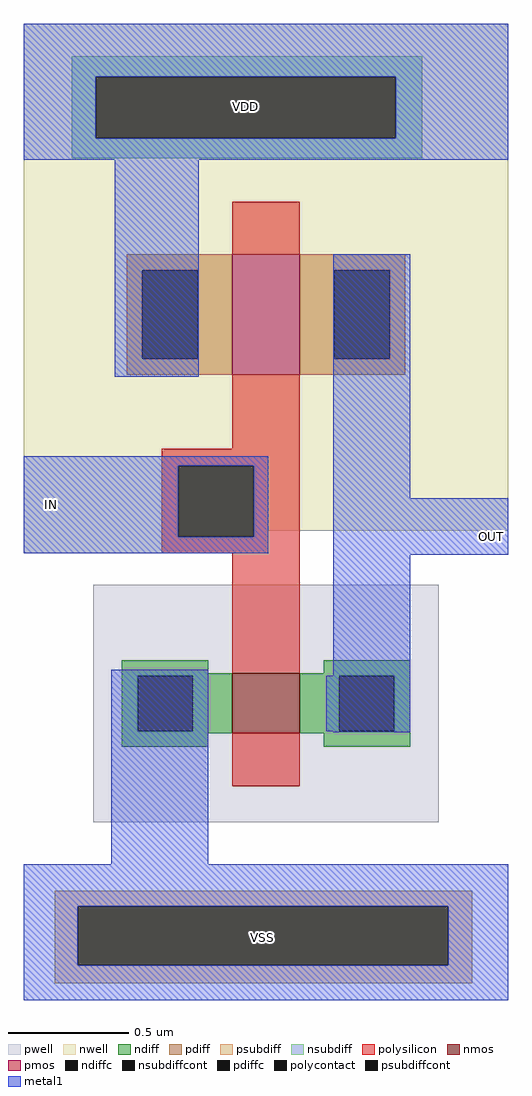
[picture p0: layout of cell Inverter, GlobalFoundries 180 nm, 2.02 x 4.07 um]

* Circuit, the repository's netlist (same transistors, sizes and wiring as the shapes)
* NGSPICE file created from Inverter.ext - technology: gf180mcuC

.subckt nmos_3p3_H9QVWA a_n120_n36# a_28_n25# a_n28_n69# VSUBS
X0 a_28_n25# a_n28_n69# a_n120_n36# VSUBS nfet_03v3 ad=0.155p pd=1.64u as=0.155p ps=1.64u w=0.25u l=0.28u
.ends

.subckt pmos_3p3_M8RWPS a_n28_n94# w_n202_n180# a_n116_n50# a_28_n50#
X0 a_28_n50# a_n28_n94# a_n116_n50# w_n202_n180# pfet_03v3 ad=0.22p pd=1.88u as=0.22p ps=1.88u w=0.5u l=0.28u
.ends

.subckt Inverter VDD VSS IN OUT
Xnmos_3p3_H9QVWA_0 VSS OUT IN VSS nmos_3p3_H9QVWA
Xpmos_3p3_M8RWPS_0 IN VDD VDD OUT pmos_3p3_M8RWPS
.ends

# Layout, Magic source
magic
tech gf180mcuC
magscale 1 10
<< nwell >>
rect -118 486 286 599
rect -42 305 28 486
rect 1 239 86 245
rect -118 158 86 239
<< psubdiff >>
rect -92 -136 256 -123
rect -92 -185 -73 -136
rect 236 -185 256 -136
rect -92 -200 256 -185
<< nsubdiff >>
rect -78 555 214 572
rect -78 504 -58 555
rect 192 504 214 555
rect -78 487 214 504
<< psubdiffcont >>
rect -73 -185 236 -136
<< nsubdiffcont >>
rect -58 504 192 555
<< polysilicon >>
rect 56 245 112 263
rect -3 231 112 245
rect -3 172 11 231
rect 74 172 112 231
rect -3 158 112 172
rect 56 102 112 158
<< polycontact >>
rect 11 172 74 231
<< metal1 >>
rect -118 555 286 599
rect -118 504 -58 555
rect 192 504 286 555
rect -118 486 286 504
rect -42 305 28 486
rect -118 231 86 239
rect -118 172 11 231
rect 74 172 86 231
rect -118 158 86 172
rect 140 204 204 407
rect 140 157 286 204
rect -45 -101 36 61
rect 140 9 204 157
rect -118 -136 286 -101
rect -118 -185 -73 -136
rect 236 -185 286 -136
rect -118 -214 286 -185
use nmos_3p3_H9QVWA  nmos_3p3_H9QVWA_0
transform 1 0 84 0 1 33
box -144 -99 144 99
use pmos_3p3_M8RWPS  pmos_3p3_M8RWPS_0 ~/GF180Projects/GF_INV/Magic
transform 1 0 84 0 1 357
box -202 -180 202 180
<< labels >>
flabel nsubdiffcont 67 530 67 530 0 FreeSans 640 0 0 0 VDD
port 1 nsew
flabel psubdiffcont 81 -162 81 -162 0 FreeSans 640 0 0 0 VSS
port 2 nsew
flabel metal1 -95 199 -95 199 0 FreeSans 640 0 0 0 IN
port 3 nsew
flabel metal1 272 172 272 172 0 FreeSans 640 0 0 0 OUT
port 5 nsew
<< end >>

# cell nmos_3p3_H9QVWA: kit device nmos_3p3, w 0.250 l 0.280 m 1 nf 1 diffcov 100 polycov 100 guard 0 glc 0 grc 0 gtc 0 gbc 0 tbcov 100 rlcov 100 topc 0 botc 0 poverlap 0 doverlap 1 lmin 0.28 wmin 0.22 full_metal 0 compatible {nmos_3p3 nmos_6p0 nmos_6p0_nat}

# cell pmos_3p3_M8RWPS: kit device pmos_3p3, w 0.50 l 0.280 m 1 nf 1 diffcov 100 polycov 100 guard 0 glc 0 grc 0 gtc 0 gbc 0 tbcov 100 rlcov 100 topc 0 botc 0 poverlap 0 doverlap 1 lmin 0.28 wmin 0.22 full_metal 0 compatible {pmos_3p3 pmos_6p0}
